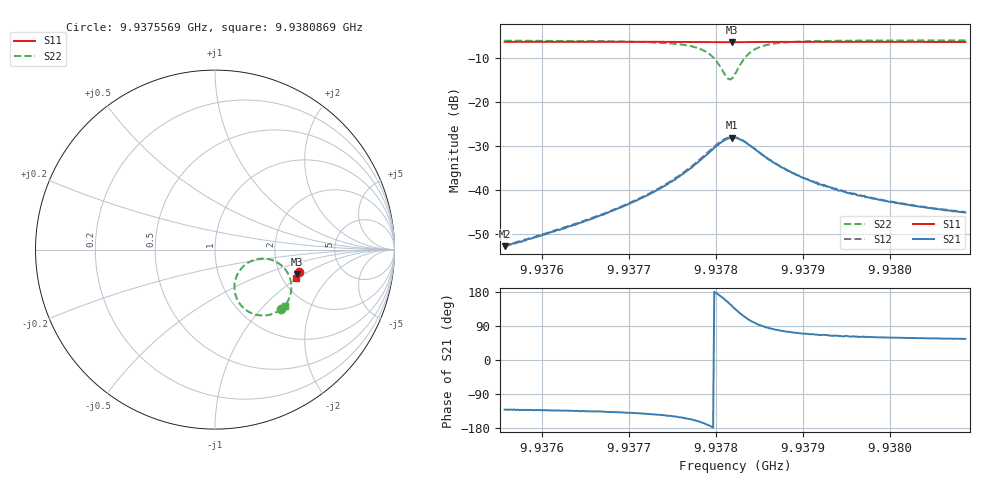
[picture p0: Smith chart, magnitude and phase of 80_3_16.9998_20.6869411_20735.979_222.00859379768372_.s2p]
#  HZ  S  RI  R  50.00
! Rohde & Schwarz Vector Network Analyzer
! Rohde-Schwarz,ZNB20-2Port,1311601062101988,3.16
! Created: UTC 3/20/2024, 10:55:42 PM
! freq[Hz]  re:S11  im:S11  re:S21  im:S21  re:S12  im:S12  re:S22  im:S22
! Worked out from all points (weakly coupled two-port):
!   401 points, 9.9375569 GHz to 9.9380869 GHz, reference 50 ohm
!   highest |S21| = -28.11 dB at 9.9378179 GHz (marker M1); lowest = -52.7 dB at 9.9375569 GHz (marker M2)
!   lowest |S11| = -6.4 dB at 9.9378179 GHz (marker M3), VSWR 2.82, Z = 123 - j43.8 ohm
!   |S11| at or under -10 dB: nowhere
!   |S22| runs from -14.9 to -6.0 dB; largest |S21 - S12| = 0.0023
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9.93755691e9  0.4665 -0.123  -0.00152 -0.00174  -0.0016 -0.00175  0.3687 -0.3308
9.93764568e9  0.4641 -0.1289  -0.00306 -0.00304  -0.00314 -0.00307  0.3504 -0.3438
9.9376947e9  0.4629 -0.1324  -0.005 -0.00438  -0.00516 -0.00439  0.3306 -0.3541
9.93773444e9  0.4616 -0.1353  -0.00836 -0.00598  -0.00868 -0.00594  0.2991 -0.3643
9.93776491e9  0.4603 -0.1376  -0.0145 -0.007  -0.015 -0.00682  0.2471 -0.3663
9.93778479e9  0.4588 -0.1388  -0.0224 -0.00559  -0.0232 -0.00526  0.1826 -0.3432
9.93779671e9  0.4575 -0.1392  -0.0293 -0.000793  -0.0304 -1.02e-06  0.1322 -0.2929
9.93780599e9  0.4566 -0.1389  -0.0341 0.00747  -0.0348 0.00925  0.1082 -0.2158
9.93781261e9  0.4562 -0.1384  -0.0344 0.0161  -0.0345 0.0181  0.1213 -0.1456
9.93781526e9  0.4561 -0.1381  -0.0335 0.0198  -0.0332 0.0219  0.1365 -0.1186
9.93781791e9  0.4562 -0.1378  -0.0316 0.0233  -0.031 0.0253  0.1571 -0.0941
9.93782188e9  0.4565 -0.1374  -0.0277 0.0278  -0.0268 0.0295  0.1954 -0.067
9.93782851e9  0.4572 -0.1372  -0.0195 0.0316  -0.0184 0.033  0.2663 -0.0498
9.93783513e9  0.458 -0.1375  -0.0119 0.032  -0.0105 0.0328  0.3271 -0.0619
9.93784176e9  0.4584 -0.138  -0.00594 0.0302  -0.00484 0.0304  0.3691 -0.0875
9.93784838e9  0.4588 -0.1387  -0.00187 0.0273  -0.000931 0.0275  0.3956 -0.1157
9.93786031e9  0.4592 -0.1399  0.00211 0.0224  0.0028 0.0224  0.4182 -0.1604
9.9378762e9  0.4592 -0.1414  0.00413 0.0175  0.00467 0.0174  0.4257 -0.2022
9.93791065e9  0.4585 -0.1444  0.00467 0.0117  0.0051 0.0116  0.4202 -0.2508
9.93795305e9  0.4576 -0.1475  0.00428 0.00814  0.0045 0.00832  0.4098 -0.2788
9.93799942e9  0.4563 -0.1506  0.00378 0.00634  0.00395 0.00635  0.401 -0.295
9.93808686e9  0.454 -0.1565  0.00312 0.00462  0.00326 0.00461  0.3888 -0.3121
